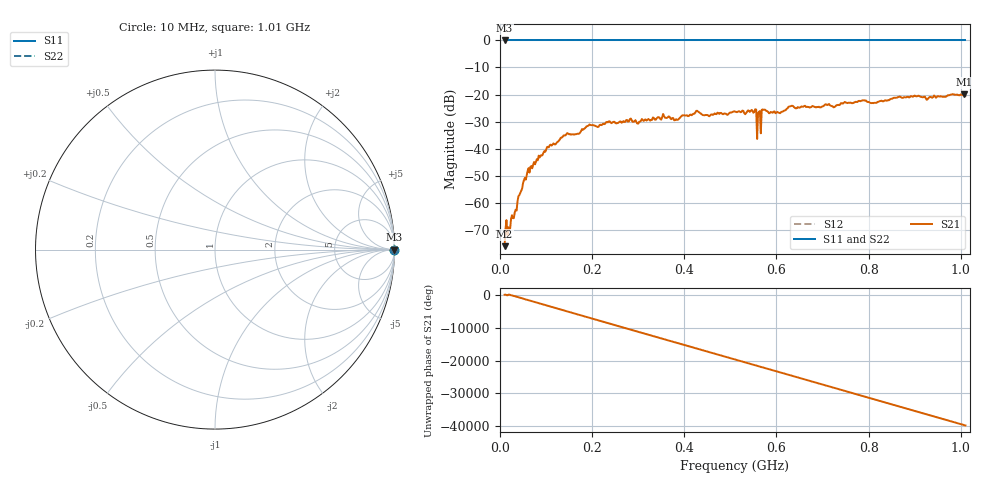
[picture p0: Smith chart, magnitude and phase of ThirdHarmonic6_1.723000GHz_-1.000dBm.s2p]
! 8/16/2025 8:44:49 PM
! C:\ANRITSUVNA\TEMP\TEMP.S2P
! CHANNEL.1
! TR.MEASUREMENT
! RAW.DATA
! RF.CORRECTION.OFF
! AVERAGING.OFF
! IF.BANDWIDTH: 5KHZ
! SWEEPTYPE:  FREQ.SWEEP(Linear)
! Reference Plane Port Info
! PORT:  PORT1  PORT2
! DISTANCE:  0  m  0  m
! TIME:  0  s  0  s
! PHASE.OFFSET:  0  deg.  0  deg.
! LOSS:  0  dB  0  dB
! REF.LOSS:  0  dB  0  dB
! REF.FREQ:  0  Hz  0  Hz
! Power Info
! POWER:  -20  dBm  -20  dBm
! EFF.POWER:  -20  dBm  -20  dBm
! SOURCE.ATTEN:  0  dB  0  dB
! TEST.ATTEN:  0  dB  0  dB
# GHZ S RI R 50.0
! FREQ.GHZ  S11RE  S11IM  S21RE  S21IM  S12RE  S12IM  S22RE  S22IM
!; PortSelection: Port_12
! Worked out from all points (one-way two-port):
!   501 points, 10 MHz to 1.01 GHz, reference 50 ohm
!   highest |S21| = -19.87 dB at 1.008 GHz (marker M1); lowest = -76.1 dB at 10 MHz (marker M2)
!   lowest |S11| = 0.0 dB at 10 MHz (marker M3)
!   |S11| at or under -10 dB: nowhere
!   |S22| runs from 0.0 to 0.0 dB; largest |S21 - S12| = 1.1
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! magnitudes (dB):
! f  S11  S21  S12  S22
! 10 MHz  0.0  -76.1  0.0  0.0
! 32 MHz  0.0  -63.6  0.0  0.0
! 42 MHz  0.0  -57.2  0.0  0.0
! 64 MHz  0.0  -48.9  0.0  0.0
! 106 MHz  0.0  -39.5  0.0  0.0
! 142 MHz  0.0  -35.1  0.0  0.0
! 178 MHz  0.0  -32.8  0.0  0.0
! 234 MHz  0.0  -30.3  0.0  0.0
! 344 MHz  0.0  -28.4  0.0  0.0
! 510 MHz  0.0  -26.3  0.0  0.0
! 552 MHz  0.0  -26.4  0.0  0.0
! 554 MHz  0.0  -25.4  0.0  0.0
! 560 MHz  0.0  -26.9  0.0  0.0
! 562 MHz  0.0  -26.4  0.0  0.0
! 564 MHz  0.0  -26.1  0.0  0.0
! 572 MHz  0.0  -25.6  0.0  0.0
! 604 MHz  0.0  -26.7  0.0  0.0
! 632 MHz  0.0  -24.2  0.0  0.0
! 678 MHz  0.0  -24.2  0.0  0.0
! 844 MHz  0.0  -22.1  0.0  0.0
! 1.008 GHz  0.0  -19.9  0.0  0.0
! 1.01 GHz  0.0  -20.5  0.0  0.0
